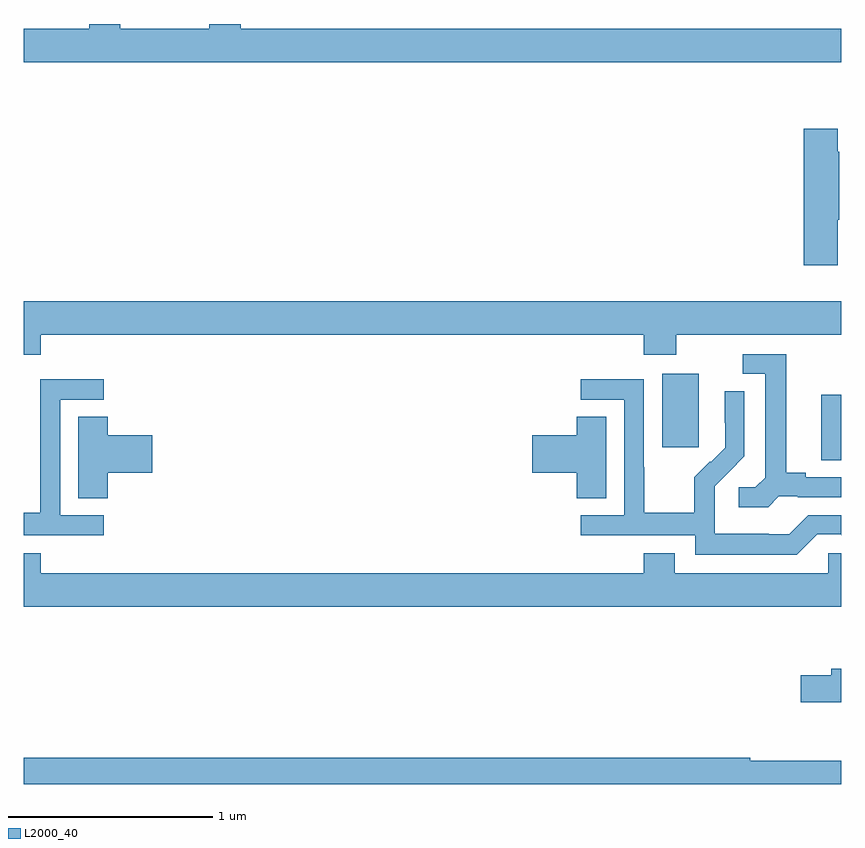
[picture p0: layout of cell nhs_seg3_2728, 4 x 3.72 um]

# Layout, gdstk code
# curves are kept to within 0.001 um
import gdstk
lib = gdstk.Library(unit=1e-6, precision=1e-09)
def R(c, l, rs):  # rectangles x0, y0, x1, y1
    for r in rs: c.add(gdstk.rectangle(r[:2], r[2:], *l))
def P(c, l, *ps):  # polygons
    for p in ps: c.add(gdstk.Polygon(p, *l))
L2000_40 = (2000, 40)

nhs_seg3_2728 = lib.new_cell('nhs_seg3_2728')
R(nhs_seg3_2728, L2000_40, [(254.903,736.267,255,736.587), (254.123,736.329,254.302,736.69)])
P(nhs_seg3_2728, L2000_40, [(255,738.376),(252.062,738.376),(252.062,738.4),(251.909,738.4),(251.909,738.376),(251.473,738.376),(251.473,738.4),(251.321,738.4),(251.321,738.376),(251,738.376),(251,738.212),(255,738.212)],
  [(254.983,737.443),(254.991,737.443),(254.991,737.774),(254.983,737.774),(254.983,737.887),(254.816,737.887),(254.816,737.22),(254.983,737.22)],
  [(251.084,736.88),(254.033,736.88),(254.033,736.781),(254.193,736.781),(254.193,736.88),(255,736.88),(255,737.044),(251,737.044),(251,736.781),(251.084,736.781)],
  [(254.694,736.089),(254.788,736.089),(254.788,736.086),(255,736.086),(255,736.182),(254.827,736.182),(254.827,736.205),(254.731,736.205),(254.731,736.785),(254.517,736.785),(254.517,736.689),(254.627,736.689),(254.627,736.181),(254.58,736.134),(254.499,736.134),(254.499,736.037),(254.642,736.037)],
  [(254.883,735.903),(254.999,735.903),(255,735.9),(255,735.996),(254.838,735.996),(254.745,735.903),(254.645,735.903),(254.645,735.907),(254.382,735.907),(254.382,736.041),(254.38,736.041),(254.38,736.138),(254.526,736.286),(254.526,736.604),(254.43,736.604),(254.43,736.45),(254.432,736.45),(254.432,736.328),(254.361,736.257),(254.358,736.26),(254.281,736.183),(254.281,736.009),(254.037,736.009),(254.037,736.232),(254.034,736.232),(254.034,736.662),(253.725,736.662),(253.725,736.563),(253.938,736.563),(253.938,735.996),(253.725,735.996),(253.725,735.9),(254.286,735.9),(254.286,735.803),(254.783,735.803)],
  [(251.392,735.996),(251.178,735.996),(251.178,736.563),(251.392,736.563),(251.392,736.662),(251.082,736.662),(251.082,736.232),(251.08,736.232),(251.08,736.009),(251,736.009),(251,735.9),(251.392,735.9)],
  [(251.411,736.205),(251.629,736.205),(251.629,736.388),(251.411,736.388),(251.411,736.478),(251.267,736.478),(251.267,736.081),(251.411,736.081)],
  [(253.849,736.478),(253.706,736.478),(253.706,736.388),(253.488,736.388),(253.488,736.205),(253.706,736.205),(253.706,736.081),(253.849,736.081)],
  [(255,735.81),(254.937,735.81),(254.937,735.712),(254.185,735.712),(254.185,735.811),(254.033,735.811),(254.033,735.712),(251.084,735.712),(251.084,735.811),(251,735.811),(251,735.548),(255,735.548)],
  [(255,735.247),(254.951,735.247),(254.951,735.213),(254.802,735.213),(254.802,735.083),(255,735.083)],
  [(255,734.795),(254.555,734.795),(254.555,734.81),(251,734.81),(251,734.682),(255,734.682)])

lib.write_gds('nhs_seg3_2728.gds')
